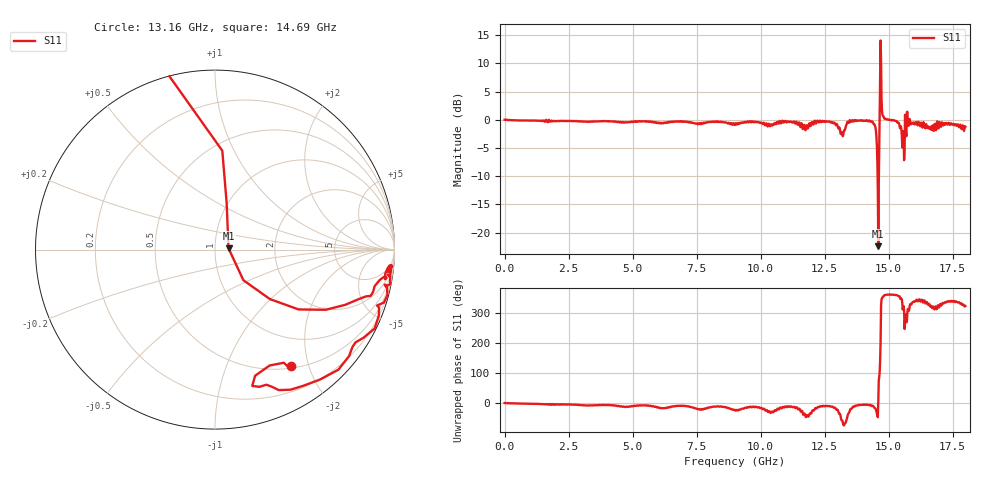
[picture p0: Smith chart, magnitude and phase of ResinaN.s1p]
!Keysight Technologies N9917A: A.12.46
!Date: Friday, 22 December 2023 20:23:30
!TimeZone: (UTC-03:00) Buenos Aires!Model: N9917A
!Serial: MY56072049
!GPS Latitude:
!GPS Longitude:
!GPS TimeStamp: 0001-01-01 00:00:00Z
!GPS Seconds Since Last Read: 0
!CHECKSUM:1944140253
!Correction: S11(ON U)
!S1P File: Measurement: S11:
# Hz S RI R 50
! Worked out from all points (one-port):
!   1001 points, 30 kHz to 18 GHz, reference 50 ohm
!   lowest |S11| = -22.4 dB at 14.6 GHz (marker M1), VSWR 1.16, Z = 58.2 + j0.835 ohm
!   |S11| at or under -10 dB: 14.57033 GHz to 14.62023 GHz (49.9 MHz wide, 0.342 % of centre)
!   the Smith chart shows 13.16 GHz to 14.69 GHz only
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30000  1 0.000574
2.250026e9  0.9721 -0.091
4.500022e9  0.9302 -0.1919
6.750019e9  0.9513 -0.1621
9.000015e9  0.8187 -0.3686
9.756014e9  0.9341 -0.234
1.044001e10  0.7874 -0.4328
1.125001e10  0.9141 -0.2298
1.182601e10  0.6568 -0.5646
1.231201e10  0.9583 -0.2177
1.281601e10  0.9205 -0.2061
1.324801e10  0.2074 -0.7594
1.350001e10  0.9125 -0.3688
1.378801e10  0.9757 -0.1405
1.440001e10  0.9179 -0.1693
1.456201e10  0.3057 -0.2756
1.459801e10  0.0755 0.00714
1.476001e10  1.1 -0.167
1.479601e10  1.07 -0.1058
1.490401e10  1.01 -0.00418
1.5336e10  0.9564 -0.0286
1.5624e10  -0.215 -0.4885
1.575e10  0.6664 -0.7284
1.5912e10  0.8357 -0.4356
1.6128e10  0.8435 -0.2897
1.6812e10  0.6749 -0.6269
1.7388e10  0.8394 -0.3279
1.8e10  0.6904 -0.5254
